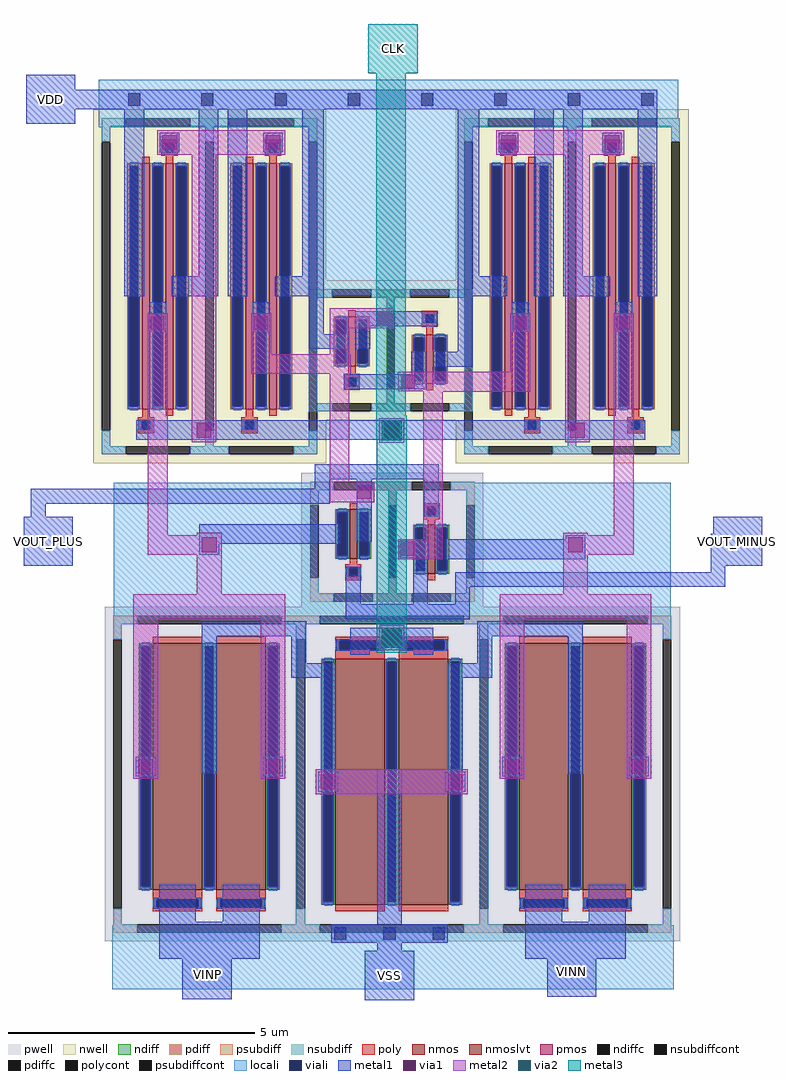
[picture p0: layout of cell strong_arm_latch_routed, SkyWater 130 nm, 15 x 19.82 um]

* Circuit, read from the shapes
.subckt strong_arm_latch_routed VDD CLK VOUT_PLUS VOUT_MINUS VSS VINP VINN
XM1 n1 VINP n2 VSS sky130_fd_pr__nfet_01v8_lvt w=5 l=1 m=2
XM2 VSS CLK n1 VSS sky130_fd_pr__nfet_01v8_lvt w=5 l=1 m=2
XM3 VOUT_PLUS VOUT_MINUS n2 VSS sky130_fd_pr__nfet_01v8 w=1 l=0.15
XM4 n3 VOUT_PLUS VOUT_MINUS VSS sky130_fd_pr__nfet_01v8 w=1 l=0.15
XM5 n1 VINN n3 VSS sky130_fd_pr__nfet_01v8_lvt w=5 l=1 m=2
XM6 n2 CLK VDD VDD sky130_fd_pr__pfet_01v8 w=5 l=0.15 m=2
XM7 VOUT_PLUS CLK VDD VDD sky130_fd_pr__pfet_01v8 w=5 l=0.15 m=2
XM8 VOUT_PLUS VOUT_MINUS VDD VDD sky130_fd_pr__pfet_01v8 w=1 l=0.15
XM9 VDD VOUT_PLUS VOUT_MINUS VDD sky130_fd_pr__pfet_01v8 w=1 l=0.15
XM10 VOUT_MINUS CLK VDD VDD sky130_fd_pr__pfet_01v8 w=5 l=0.15 m=2
XM11 n3 CLK VDD VDD sky130_fd_pr__pfet_01v8 w=5 l=0.15 m=2
.ends

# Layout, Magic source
magic
tech sky130A
magscale 1 2
<< metal1 >>
rect 610 194 810 394
rect 600 -1600 800 -1400
rect 3400 -1600 3600 -1400
rect 1245 -3360 1445 -3160
rect 1986 -3363 2186 -3163
rect 2726 -3349 2926 -3149
rect 1153 79 1233 159
rect 1573 79 1653 159
rect 2529 79 2609 159
rect 2949 79 3029 159
rect 1057 -1089 3125 -1009
rect 668 254 1089 334
rect 1009 -505 1089 334
rect 1009 254 1391 334
rect 1311 -505 1391 334
rect 1201 -505 1391 -425
rect 1311 254 1509 334
rect 1429 -505 1509 334
rect 1429 254 1811 334
rect 1731 -505 1811 334
rect 1621 -505 1811 -425
rect 1731 254 1829 334
rect 1759 -719 1819 324
rect 1759 -719 1919 -659
rect 1749 254 2753 334
rect 2673 -505 2753 334
rect 2371 254 2753 334
rect 2371 -505 2451 334
rect 2371 -505 2561 -425
rect 2371 254 2871 334
rect 2791 -505 2871 334
rect 2791 -505 2981 -425
rect 2791 254 3173 334
rect 3093 -505 3173 334
rect 2353 254 3173 334
rect 2363 -791 2423 324
rect 2263 -791 2423 -731
rect 2036 -3313 2136 -3043
rect 2049 -3130 2323 -3056
rect 1849 -3130 2123 -3056
rect 2036 -3143 2136 -2427
rect 1270 -3335 1420 -3045
rect 1150 -3195 1420 -3045
rect 1150 -3195 1300 -2895
rect 1270 -3195 1558 -3045
rect 1408 -3195 1558 -2895
rect 2751 -3324 2901 -3045
rect 2637 -3195 2901 -3045
rect 2637 -3195 2787 -2895
rect 2751 -3195 3045 -3045
rect 2895 -3195 3045 -2895
rect 1324 -2445 1384 -1825
rect 1324 -1885 1747 -1825
rect 1687 -2055 1747 -1825
rect 1687 -2055 1867 -1995
rect 1807 -2507 1867 -1995
rect 2811 -2445 2871 -1825
rect 2443 -1885 2871 -1825
rect 2443 -2055 2503 -1825
rect 2323 -2055 2503 -1995
rect 2323 -2507 2383 -1995
rect 1056 -2455 1136 -2375
rect 1572 -2455 1652 -2375
rect 2543 -2455 2623 -2375
rect 3059 -2455 3139 -2375
rect 1314 -1555 1394 -1431
rect 1314 -1511 1885 -1431
rect 2801 -1573 2881 -1475
rect 2310 -1573 2881 -1493
rect 1909 -1816 1969 -1636
rect 1909 -1816 2242 -1756
rect 2182 -1816 2242 -1503
rect 2182 -1816 2412 -1756
rect 2352 -1816 2412 -1626
rect 2352 -1686 3450 -1626
rect 3390 -1686 3450 -1470
rect 3390 -1530 3530 -1470
rect 2226 -1368 2286 -1188
rect 1953 -1248 2286 -1188
rect 1953 -1501 2013 -1188
rect 1783 -1248 2013 -1188
rect 1783 -1348 1843 -1188
rect 630 -1348 1843 -1288
rect 630 -1530 690 -1288
rect 1926 -1962 2006 -1852
rect 1926 -1932 2135 -1852
rect 2055 -1932 2264 -1852
rect 2184 -1962 2264 -1852
rect 1947 -627 2279 -567
rect 1947 -719 2007 -567
rect 1903 -883 2235 -823
rect 2175 -883 2235 -731
rect 2127 -1568 2247 -1498
rect 3002 -650 3072 -530
rect 1110 -650 1180 -530
rect 2582 -650 2652 -530
rect 1530 -650 1600 -530
rect 1797 -2517 1877 -2437
rect 2313 -2517 2393 -2437
<< metal3 >>
rect 2000 400 2200 600
rect 2031 440 2160 560
rect 2031 -1089 2151 560
rect 2035 -1952 2155 -990
<< via1 >>
rect 1163 89 1223 149
rect 1583 89 1643 149
rect 2539 89 2599 149
rect 2959 89 3019 149
rect 1303 -1079 1363 -1019
rect 2819 -1079 2879 -1019
rect 1066 -2445 1126 -2385
rect 1582 -2445 1642 -2385
rect 2553 -2445 2613 -2385
rect 3069 -2445 3129 -2385
rect 1324 -1545 1384 -1485
rect 2811 -1545 2871 -1485
rect 2065 -1922 2125 -1862
rect 2065 -1080 2125 -1020
rect 2134 -1560 2189 -1505
rect 2134 -879 2189 -824
rect 1955 -1328 2010 -1273
rect 2035 -622 2090 -567
rect 3009 -642 3064 -587
rect 1117 -642 1172 -587
rect 2589 -642 2644 -587
rect 1537 -642 1592 -587
rect 1807 -2507 1867 -2447
rect 2323 -2507 2383 -2447
<< metal2 >>
rect 1143 69 1663 169
rect 2519 69 3039 169
rect 1283 -1099 1383 149
rect 2799 -1099 2899 149
rect 1046 -2465 1146 -1715
rect 1046 -1815 1662 -1715
rect 1562 -2465 1662 -1715
rect 2533 -2465 2633 -1715
rect 2533 -1815 3149 -1715
rect 3049 -2465 3149 -1715
rect 1304 -1815 1404 -1465
rect 2791 -1815 2891 -1465
rect 2045 -1942 2145 -1842
rect 2045 -1100 2145 -1000
rect 2122 -1573 2302 -1493
rect 2222 -1573 2302 -812
rect 2122 -892 2302 -812
rect 1843 -1341 2023 -1261
rect 1843 -1341 1923 -555
rect 1843 -635 2103 -555
rect 2997 -1555 3077 -575
rect 2801 -1555 3077 -1475
rect 1105 -1555 1185 -575
rect 1105 -1555 1394 -1475
rect 2577 -893 2657 -575
rect 2253 -893 2657 -813
rect 1525 -821 1605 -575
rect 1525 -821 1929 -741
rect 1787 -2527 2403 -2427
<< viali >>
rect 1024 269 1074 319
rect 1321 269 1371 319
rect 1619 269 1669 319
rect 1917 269 1967 319
rect 2214 269 2264 319
rect 2512 269 2562 319
rect 2810 269 2860 319
rect 3108 269 3158 319
rect 2061 -3118 2111 -3068
rect 2261 -3118 2311 -3068
rect 1861 -3118 1911 -3068
<< locali >>
rect 960 -3320 3240 -3060
rect 1756 -500 2416 208
rect 906 180 3258 374
rect 966 -1820 1792 -1262
rect 1770 -1832 2432 -1714
rect 2400 -1820 3228 -1262
<< via2 >>
rect 2055 -1932 2135 -1852
rect 2055 -1090 2135 -1010
use sky130_fd_pr__nfet_01v8_lvt_GVGYYV  XM1
transform 1 0 1354 0 1 -2446
box -425 -679 425 679
use sky130_fd_pr__nfet_01v8_lvt_GVGYYV  XM2
transform 1 0 2841 0 1 -2446
box -425 -679 425 679
use sky130_fd_pr__nfet_01v8_lvt_URSRNG  XM3
transform 1 0 2095 0 1 -2446
box -425 -679 425 679
use sky130_fd_pr__nfet_01v8_CQH6Q5  XM4
transform 1 0 1939 0 1 -1502
box -211 -279 211 279
use sky130_fd_pr__nfet_01v8_WXMB3T  XM5
transform 1 0 2256 0 1 -1502
box -211 -279 211 279
use sky130_fd_pr__pfet_01v8_CZ2BPM  XM6
transform 1 0 1933 0 1 -725
box -211 -284 211 284
use sky130_fd_pr__pfet_01v8_NRXS53  XM7
transform 1 0 2249 0 1 -725
box -211 -284 211 284
use sky130_fd_pr__pfet_01v8_7PVLUA  XM8
transform 1 0 1565 0 1 -465
box -263 -719 263 719
use sky130_fd_pr__pfet_01v8_MV5BJT  XM9
transform 1 0 1145 0 1 -465
box -263 -719 263 719
use sky130_fd_pr__pfet_01v8_MV5BJT  XM10
transform -1 0 2617 0 1 -465
box -263 -719 263 719
use sky130_fd_pr__pfet_01v8_MV5BJT  XM11
transform -1 0 3037 0 1 -465
box -263 -719 263 719
<< labels >>
flabel metal1 1245 -3360 1445 -3160 0 FreeSans 256 0 0 0 VINP
port 5 nsew
flabel metal1 1986 -3363 2186 -3163 0 FreeSans 256 0 0 0 VSS
port 4 nsew
flabel metal1 2726 -3349 2926 -3149 0 FreeSans 256 0 0 0 VINN
port 6 nsew
flabel metal1 610 194 807 394 0 FreeSans 256 0 0 0 VDD
port 0 nsew
flabel metal1 600 -1600 800 -1400 0 FreeSans 256 0 0 0 VOUT_PLUS
port 2 nsew
flabel metal1 3400 -1600 3600 -1400 0 FreeSans 256 0 0 0 VOUT_MINUS
port 3 nsew
flabel metal3 2004 400 2197 600 0 FreeSans 256 0 0 0 CLK
port 1 nsew
<< end >>

# cell sky130_fd_pr__nfet_01v8_lvt_GVGYYV: kit device sky130_fd_pr__nfet_01v8_lvt, w 5 l 1.0 m 1 nf 2 diffcov 100 polycov 100 guard 1 glc 1 grc 1 gtc 1 gbc 1 tbcov 100 rlcov 100 topc 0 botc 1 poverlap 0 doverlap 1 lmin 0.15 wmin 0.42 class mosfet compatible {sky130_fd_pr__nfet_01v8 sky130_fd_pr__nfet_01v8_lvt sky130_fd_bs_flash__special_sonosfet_star sky130_fd_pr__nfet_g5v0d10v5 sky130_fd_pr__nfet_05v0_nvt sky130_fd_pr__nfet_03v3_nvt} full_metal 1 viasrc 100 viadrn 100 viagate 100 viagb 0 viagr 0 viagl 0 viagt 0

# cell sky130_fd_pr__nfet_01v8_lvt_URSRNG: kit device sky130_fd_pr__nfet_01v8_lvt, w 5 l 1.0 m 1 nf 2 diffcov 100 polycov 100 guard 1 glc 0 grc 0 gtc 1 gbc 1 tbcov 100 rlcov 100 topc 1 botc 0 poverlap 0 doverlap 1 lmin 0.15 wmin 0.42 class mosfet compatible {sky130_fd_pr__nfet_01v8 sky130_fd_pr__nfet_01v8_lvt sky130_fd_bs_flash__special_sonosfet_star sky130_fd_pr__nfet_g5v0d10v5 sky130_fd_pr__nfet_05v0_nvt sky130_fd_pr__nfet_03v3_nvt} full_metal 1 viasrc 100 viadrn 100 viagate 100 viagb 0 viagr 0 viagl 0 viagt 0

# cell sky130_fd_pr__nfet_01v8_CQH6Q5: kit device sky130_fd_pr__nfet_01v8, w 1.0 l 0.15 m 1 nf 1 diffcov 100 polycov 100 guard 1 glc 1 grc 1 gtc 1 gbc 1 tbcov 100 rlcov 100 topc 0 botc 1 poverlap 0 doverlap 1 lmin 0.15 wmin 0.42 class mosfet compatible {sky130_fd_pr__nfet_01v8 sky130_fd_pr__nfet_01v8_lvt sky130_fd_bs_flash__special_sonosfet_star sky130_fd_pr__nfet_g5v0d10v5 sky130_fd_pr__nfet_05v0_nvt sky130_fd_pr__nfet_03v3_nvt} full_metal 1 viasrc 100 viadrn 100 viagate 100 viagb 0 viagr 0 viagl 0 viagt 0

# cell sky130_fd_pr__nfet_01v8_WXMB3T: kit device sky130_fd_pr__nfet_01v8, w 1.0 l 0.15 m 1 nf 1 diffcov 100 polycov 100 guard 1 glc 0 grc 1 gtc 1 gbc 1 tbcov 100 rlcov 100 topc 1 botc 0 poverlap 0 doverlap 1 lmin 0.15 wmin 0.42 class mosfet compatible {sky130_fd_pr__nfet_01v8 sky130_fd_pr__nfet_01v8_lvt sky130_fd_bs_flash__special_sonosfet_star sky130_fd_pr__nfet_g5v0d10v5 sky130_fd_pr__nfet_05v0_nvt sky130_fd_pr__nfet_03v3_nvt} full_metal 1 viasrc 100 viadrn 100 viagate 100 viagb 0 viagr 0 viagl 0 viagt 0

# cell sky130_fd_pr__pfet_01v8_CZ2BPM: kit device sky130_fd_pr__pfet_01v8, w 1.0 l 0.15 m 1 nf 1 diffcov 100 polycov 100 guard 1 glc 0 grc 1 gtc 1 gbc 1 tbcov 100 rlcov 100 topc 0 botc 1 poverlap 0 doverlap 1 lmin 0.15 wmin 0.42 class mosfet compatible {sky130_fd_pr__pfet_01v8 sky130_fd_pr__pfet_01v8_lvt sky130_fd_pr__pfet_01v8_hvt sky130_fd_pr__pfet_g5v0d10v5} full_metal 1 viasrc 100 viadrn 100 viagate 100 viagb 0 viagr 0 viagl 0 viagt 0

# cell sky130_fd_pr__pfet_01v8_NRXS53: kit device sky130_fd_pr__pfet_01v8, w 1.0 l 0.15 m 1 nf 1 diffcov 100 polycov 100 guard 1 glc 1 grc 0 gtc 1 gbc 1 tbcov 100 rlcov 100 topc 1 botc 0 poverlap 0 doverlap 1 lmin 0.15 wmin 0.42 class mosfet compatible {sky130_fd_pr__pfet_01v8 sky130_fd_pr__pfet_01v8_lvt sky130_fd_pr__pfet_01v8_hvt sky130_fd_pr__pfet_g5v0d10v5} full_metal 1 viasrc 100 viadrn 100 viagate 100 viagb 0 viagr 0 viagl 0 viagt 0

# cell sky130_fd_pr__pfet_01v8_7PVLUA: kit device sky130_fd_pr__pfet_01v8, w 5 l 0.15 m 1 nf 2 diffcov 100 polycov 100 guard 1 glc 1 grc 1 gtc 1 gbc 1 tbcov 100 rlcov 100 topc 0 botc 0 poverlap 0 doverlap 1 lmin 0.15 wmin 0.42 class mosfet compatible {sky130_fd_pr__pfet_01v8 sky130_fd_pr__pfet_01v8_lvt sky130_fd_pr__pfet_01v8_hvt sky130_fd_pr__pfet_g5v0d10v5} full_metal 1 viasrc 100 viadrn 100 viagate 100 viagb 0 viagr 0 viagl 0 viagt 0

# cell sky130_fd_pr__pfet_01v8_MV5BJT: kit device sky130_fd_pr__pfet_01v8, w 5 l 0.15 m 1 nf 2 diffcov 100 polycov 100 guard 1 glc 1 grc 1 gtc 1 gbc 1 tbcov 100 rlcov 100 topc 1 botc 1 poverlap 0 doverlap 1 lmin 0.15 wmin 0.42 class mosfet compatible {sky130_fd_pr__pfet_01v8 sky130_fd_pr__pfet_01v8_lvt sky130_fd_pr__pfet_01v8_hvt sky130_fd_pr__pfet_g5v0d10v5} full_metal 1 viasrc 100 viadrn 100 viagate 100 viagb 0 viagr 0 viagl 0 viagt 0
